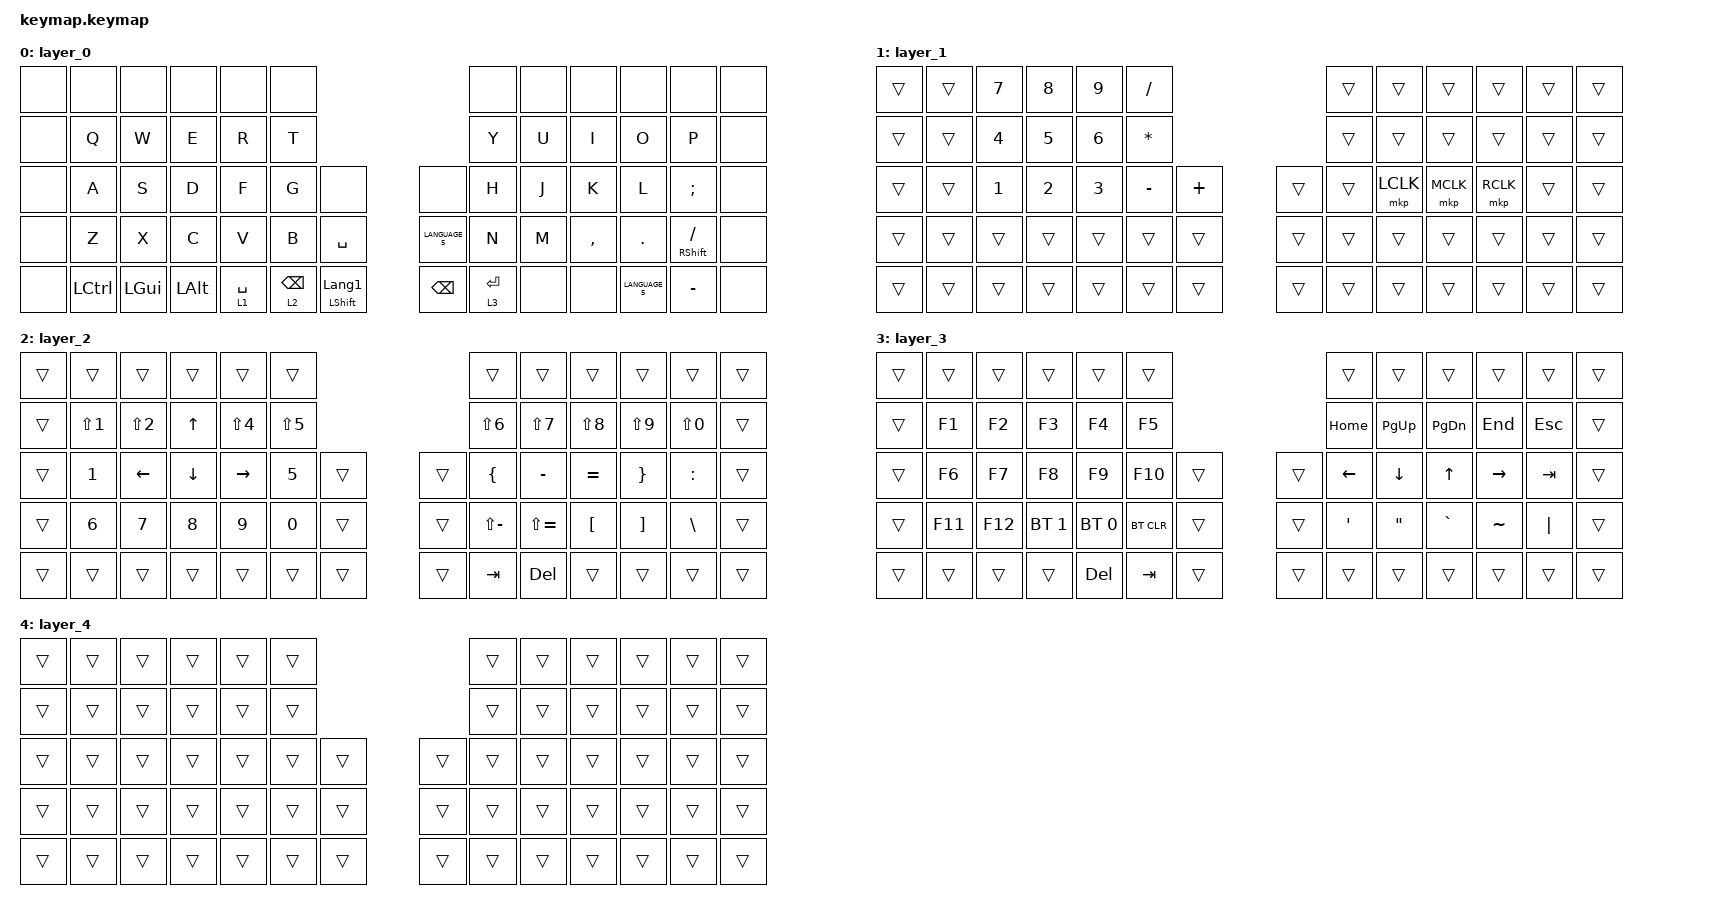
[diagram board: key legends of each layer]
#include <behaviors.dtsi>
#include <dt-bindings/zmk/bt.h>
#include <dt-bindings/zmk/keys.h>
#include <dt-bindings/zmk/pointing.h>

/ {
    combos {
        compatible = "zmk,combos";

        bt_clear {
            bindings = <&bt BT_CLR>;
            key-positions = <28 29>;
            layers = <2>;
        };
    };

    keymap {
        compatible = "zmk,keymap";

        layer_0 {
            bindings = <
&none  &none      &none         &none     &none        &none                                                       &none        &none  &none      &none           &none                 &none
&none  &kp Q      &kp W         &kp E     &kp R        &kp T                                                       &kp Y        &kp U  &kp I      &kp O           &kp P                 &none
&none  &kp A      &kp S         &kp D     &kp F        &kp G            &none                      &none           &kp H        &kp J  &kp K      &kp L           &kp SEMI              &none
&none  &kp Z      &kp X         &kp C     &kp V        &kp B            &kp SPACE                  &kp LANGUAGE_5  &kp N        &kp M  &kp COMMA  &kp DOT         &mt RIGHT_SHIFT FSLH  &none
&none  &kp LCTRL  &kp LEFT_GUI  &kp LALT  &lt 1 SPACE  &lt 2 BACKSPACE  &mt LEFT_SHIFT LANGUAGE_1  &kp BACKSPACE   &lt 3 ENTER  &none  &none      &kp LANGUAGE_5  &kp MINUS             &none
            >;
        };

        layer_1 {
            bindings = <
&trans  &trans  &kp N7        &kp N8        &kp N9        &kp SLASH                       &trans  &trans     &trans     &trans     &trans  &trans
&trans  &trans  &kp NUMBER_4  &kp N5        &kp NUMBER_6  &kp ASTERISK                    &trans  &trans     &trans     &trans     &trans  &trans
&trans  &trans  &kp NUMBER_1  &kp NUMBER_2  &kp NUMBER_3  &kp MINUS     &kp PLUS  &trans  &trans  &mkp LCLK  &mkp MCLK  &mkp RCLK  &trans  &trans
&trans  &trans  &trans        &trans        &trans        &trans        &trans    &trans  &trans  &trans     &trans     &trans     &trans  &trans
&trans  &trans  &trans        &trans        &trans        &trans        &trans    &trans  &trans  &trans     &trans     &trans     &trans  &trans
            >;
        };

        layer_2 {
            bindings = <
&trans  &trans            &trans            &trans          &trans           &trans                      &trans          &trans         &trans            &trans             &trans         &trans
&trans  &kp LS(NUMBER_1)  &kp LS(NUMBER_2)  &kp UP_ARROW    &kp LS(N4)       &kp LS(N5)                  &kp LS(N6)      &kp LS(N7)     &kp LS(N8)        &kp LS(N9)         &kp LS(N0)     &trans
&trans  &kp N1            &kp LEFT_ARROW    &kp DOWN_ARROW  &kp RIGHT_ARROW  &kp N5      &trans  &trans  &kp LEFT_BRACE  &kp MINUS      &kp EQUAL         &kp RIGHT_BRACE    &kp COLON      &trans
&trans  &kp N6            &kp N7            &kp N8          &kp N9           &kp N0      &trans  &trans  &kp LS(MINUS)   &kp LS(EQUAL)  &kp LEFT_BRACKET  &kp RIGHT_BRACKET  &kp BACKSLASH  &trans
&trans  &trans            &trans            &trans          &trans           &trans      &trans  &trans  &kp TAB         &kp DEL        &trans            &trans             &trans         &trans
            >;
        };

        layer_3 {
            bindings = <
&trans  &trans   &trans   &trans        &trans        &trans                      &trans            &trans     &trans         &trans     &trans      &trans
&trans  &kp F1   &kp F2   &kp F3        &kp F4        &kp F5                      &kp HOME          &kp PG_UP  &kp PAGE_DOWN  &kp END    &kp ESCAPE  &trans
&trans  &kp F6   &kp F7   &kp F8        &kp F9        &kp F10     &trans  &trans  &kp LEFT          &kp DOWN   &kp UP_ARROW   &kp RIGHT  &kp TAB     &trans
&trans  &kp F11  &kp F12  &bt BT_SEL 1  &bt BT_SEL 0  &bt BT_CLR  &trans  &trans  &kp SINGLE_QUOTE  &kp DQT    &kp GRAVE      &kp TILDE  &kp PIPE    &trans
&trans  &trans   &trans   &trans        &kp DELETE    &kp TAB     &trans  &trans  &trans            &trans     &trans         &trans     &trans      &trans
            >;
        };

        layer_4 {
            bindings = <
&trans  &trans  &trans  &trans  &trans  &trans                  &trans  &trans  &trans  &trans  &trans  &trans
&trans  &trans  &trans  &trans  &trans  &trans                  &trans  &trans  &trans  &trans  &trans  &trans
&trans  &trans  &trans  &trans  &trans  &trans  &trans  &trans  &trans  &trans  &trans  &trans  &trans  &trans
&trans  &trans  &trans  &trans  &trans  &trans  &trans  &trans  &trans  &trans  &trans  &trans  &trans  &trans
&trans  &trans  &trans  &trans  &trans  &trans  &trans  &trans  &trans  &trans  &trans  &trans  &trans  &trans
            >;
        };
    };
};
